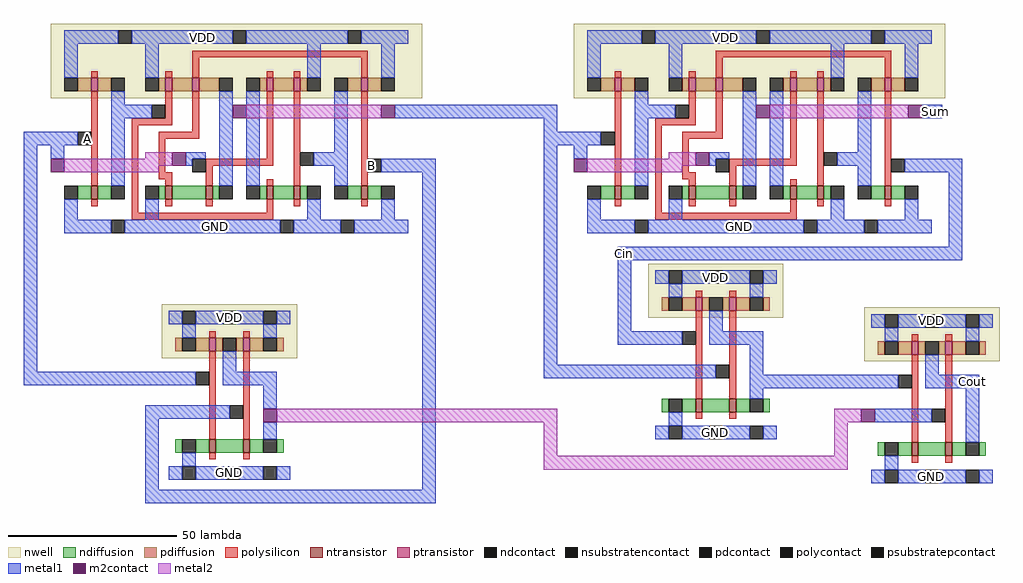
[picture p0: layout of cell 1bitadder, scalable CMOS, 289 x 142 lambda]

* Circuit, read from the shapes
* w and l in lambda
.subckt 1bitadder A B Cin Cout GND Sum VDD
M1 n1 A GND GND nfet w=4 l=2
M2 n2 B GND GND nfet w=4 l=2
M3 n3 A n2 GND nfet w=4 l=2
M4 n4 A GND GND nfet w=4 l=2
M5 n5 B n4 GND nfet w=4 l=2
M6 n6 n1 n3 GND nfet w=4 l=2
M7 GND n7 n6 GND nfet w=4 l=2
M8 GND B n7 GND nfet w=4 l=2
M9 n8 n3 GND GND nfet w=4 l=2
M10 n9 Cin GND GND nfet w=4 l=2
M11 n10 Cin GND GND nfet w=4 l=2
M12 n11 n3 n10 GND nfet w=4 l=2
M13 Sum n3 n9 GND nfet w=4 l=2
M14 n12 n8 Sum GND nfet w=4 l=2
M15 GND n13 n12 GND nfet w=4 l=2
M16 GND Cin n13 GND nfet w=4 l=2
M17 n14 n11 GND GND nfet w=4 l=2
M18 Cout n5 n14 GND nfet w=4 l=2
M19 n1 A VDD VDD pfet w=4 l=2
M20 n15 n1 VDD VDD pfet w=4 l=2
M21 n3 B n15 VDD pfet w=4 l=2
M22 n5 A VDD VDD pfet w=4 l=2
M23 VDD B n5 VDD pfet w=4 l=2
M24 n16 A n3 VDD pfet w=4 l=2
M25 VDD n7 n16 VDD pfet w=4 l=2
M26 VDD B n7 VDD pfet w=4 l=2
M27 n8 n3 VDD VDD pfet w=4 l=2
M28 n17 n8 VDD VDD pfet w=4 l=2
M29 n11 Cin VDD VDD pfet w=4 l=2
M30 Sum Cin n17 VDD pfet w=4 l=2
M31 VDD n3 n11 VDD pfet w=4 l=2
M32 n18 n3 Sum VDD pfet w=4 l=2
M33 VDD n13 n18 VDD pfet w=4 l=2
M34 VDD Cin n13 VDD pfet w=4 l=2
M35 Cout n11 VDD VDD pfet w=4 l=2
M36 VDD n5 Cout VDD pfet w=4 l=2
.ends

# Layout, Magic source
magic
tech scmos
<< nwell >>
rect -40 8 70 30
rect 115 8 225 30
rect -7 -69 33 -53
rect 137 -57 177 -41
rect 201 -70 241 -54
<< polysilicon >>
rect 2 20 54 22
rect -28 14 -26 16
rect -6 14 -4 16
rect 2 14 4 20
rect 24 14 26 16
rect 32 14 34 16
rect 52 14 54 20
rect 157 20 209 22
rect 127 14 129 16
rect 149 14 151 16
rect 157 14 159 20
rect 179 14 181 16
rect 187 14 189 16
rect 207 14 209 20
rect -28 -18 -26 10
rect -6 2 -4 10
rect -16 0 -4 2
rect -28 -24 -26 -22
rect -16 -26 -14 0
rect 2 -2 4 10
rect -8 -4 4 -2
rect -8 -14 -6 -4
rect 24 -10 26 10
rect 6 -12 26 -10
rect -8 -16 -4 -14
rect -6 -18 -4 -16
rect 6 -18 8 -12
rect 24 -18 26 -16
rect 32 -18 34 10
rect 52 -18 54 10
rect 127 -18 129 10
rect 149 2 151 10
rect 139 0 151 2
rect -6 -24 -4 -22
rect 6 -24 8 -22
rect 24 -26 26 -22
rect 32 -24 34 -22
rect 52 -24 54 -22
rect 127 -24 129 -22
rect -16 -28 26 -26
rect 139 -26 141 0
rect 157 -2 159 10
rect 147 -4 159 -2
rect 147 -14 149 -4
rect 179 -10 181 10
rect 161 -12 181 -10
rect 147 -16 151 -14
rect 149 -18 151 -16
rect 161 -18 163 -12
rect 179 -18 181 -16
rect 187 -18 189 10
rect 207 -18 209 10
rect 149 -24 151 -22
rect 161 -24 163 -22
rect 179 -26 181 -22
rect 187 -24 189 -22
rect 207 -24 209 -22
rect 139 -28 181 -26
rect 151 -51 153 -49
rect 161 -51 163 -49
rect 7 -63 9 -61
rect 17 -63 19 -61
rect 7 -93 9 -67
rect 17 -93 19 -67
rect 151 -81 153 -55
rect 161 -81 163 -55
rect 215 -64 217 -62
rect 225 -64 227 -62
rect 151 -87 153 -85
rect 161 -87 163 -85
rect 215 -94 217 -68
rect 225 -94 227 -68
rect 7 -99 9 -97
rect 17 -99 19 -97
rect 215 -100 217 -98
rect 225 -100 227 -98
<< ndiffusion >>
rect -32 -22 -28 -18
rect -26 -22 -22 -18
rect -8 -22 -6 -18
rect -4 -22 6 -18
rect 8 -22 10 -18
rect 22 -22 24 -18
rect 26 -22 32 -18
rect 34 -22 36 -18
rect 48 -22 52 -18
rect 54 -22 58 -18
rect 123 -22 127 -18
rect 129 -22 133 -18
rect 147 -22 149 -18
rect 151 -22 161 -18
rect 163 -22 165 -18
rect 177 -22 179 -18
rect 181 -22 187 -18
rect 189 -22 191 -18
rect 203 -22 207 -18
rect 209 -22 213 -18
rect 141 -85 143 -81
rect 147 -85 151 -81
rect 153 -85 161 -81
rect 163 -85 167 -81
rect 171 -85 173 -81
rect -3 -97 -1 -93
rect 3 -97 7 -93
rect 9 -97 17 -93
rect 19 -97 23 -93
rect 27 -97 29 -93
rect 205 -98 207 -94
rect 211 -98 215 -94
rect 217 -98 225 -94
rect 227 -98 231 -94
rect 235 -98 237 -94
<< pdiffusion >>
rect -32 10 -28 14
rect -26 10 -22 14
rect -8 10 -6 14
rect -4 10 2 14
rect 4 10 10 14
rect 22 10 24 14
rect 26 10 32 14
rect 34 10 36 14
rect 48 10 52 14
rect 54 10 58 14
rect 123 10 127 14
rect 129 10 133 14
rect 147 10 149 14
rect 151 10 157 14
rect 159 10 165 14
rect 177 10 179 14
rect 181 10 187 14
rect 189 10 191 14
rect 203 10 207 14
rect 209 10 213 14
rect 141 -55 143 -51
rect 147 -55 151 -51
rect 153 -55 155 -51
rect 159 -55 161 -51
rect 163 -55 167 -51
rect 171 -55 173 -51
rect -3 -67 -1 -63
rect 3 -67 7 -63
rect 9 -67 11 -63
rect 15 -67 17 -63
rect 19 -67 23 -63
rect 27 -67 29 -63
rect 205 -68 207 -64
rect 211 -68 215 -64
rect 217 -68 219 -64
rect 223 -68 225 -64
rect 227 -68 231 -64
rect 235 -68 237 -64
<< metal1 >>
rect -36 24 -20 28
rect -16 24 14 28
rect 18 24 48 28
rect 52 24 66 28
rect 119 24 135 28
rect 139 24 169 28
rect 173 24 203 28
rect 207 24 221 28
rect -36 14 -32 24
rect -12 14 -8 24
rect 36 14 40 24
rect 58 14 62 24
rect -22 6 -18 10
rect -22 2 -10 6
rect -48 -6 -32 -2
rect -48 -73 -44 -6
rect -40 -10 -36 -6
rect -22 -18 -18 2
rect 0 -10 6 -8
rect 0 -12 2 -10
rect 10 -18 14 10
rect 119 14 123 24
rect 143 14 147 24
rect 191 14 195 24
rect 213 14 217 24
rect 18 -18 22 10
rect 44 -8 48 10
rect 133 6 137 10
rect 62 2 110 6
rect 38 -12 48 -8
rect 106 -2 110 2
rect 133 2 145 6
rect 106 -6 123 -2
rect 44 -18 48 -12
rect 58 -14 74 -10
rect -36 -28 -32 -22
rect -12 -28 -8 -22
rect 36 -28 40 -22
rect 58 -28 62 -22
rect -36 -32 -22 -28
rect -18 -32 28 -28
rect 32 -32 46 -28
rect 50 -32 66 -28
rect -5 -59 -1 -55
rect 3 -59 11 -55
rect 15 -59 23 -55
rect 27 -59 31 -55
rect -1 -63 3 -59
rect 23 -63 27 -59
rect 11 -73 15 -67
rect -48 -77 3 -73
rect 11 -77 27 -73
rect -12 -87 13 -83
rect 23 -84 27 -77
rect -12 -108 -8 -87
rect 23 -93 27 -88
rect -1 -101 3 -97
rect -5 -105 -1 -101
rect 3 -105 12 -101
rect 16 -105 23 -101
rect 27 -105 31 -101
rect 70 -108 74 -14
rect 106 -71 110 -6
rect 115 -10 119 -6
rect 133 -18 137 2
rect 155 -10 161 -8
rect 155 -12 157 -10
rect 165 -18 169 10
rect 173 -18 177 10
rect 199 -8 203 10
rect 218 2 224 6
rect 193 -12 203 -8
rect 199 -18 203 -12
rect 213 -14 230 -10
rect 119 -28 123 -22
rect 143 -28 147 -22
rect 191 -28 195 -22
rect 213 -28 217 -22
rect 119 -32 133 -28
rect 137 -32 183 -28
rect 187 -32 201 -28
rect 205 -32 221 -28
rect 226 -36 230 -14
rect 128 -40 230 -36
rect 128 -61 132 -40
rect 139 -47 143 -43
rect 147 -47 155 -43
rect 159 -47 167 -43
rect 171 -47 175 -43
rect 143 -51 147 -47
rect 167 -51 171 -47
rect 155 -61 159 -55
rect 203 -60 207 -56
rect 211 -60 219 -56
rect 223 -60 231 -56
rect 235 -60 239 -56
rect 128 -65 147 -61
rect 155 -65 171 -61
rect 106 -75 157 -71
rect 167 -74 171 -65
rect 207 -64 211 -60
rect 231 -64 235 -60
rect 219 -74 223 -68
rect 167 -78 211 -74
rect 219 -78 235 -74
rect 167 -81 171 -78
rect 143 -89 147 -85
rect 204 -88 221 -84
rect 139 -93 143 -89
rect 147 -93 155 -89
rect 159 -93 167 -89
rect 171 -93 175 -89
rect 231 -94 235 -78
rect 207 -102 211 -98
rect 203 -106 207 -102
rect 211 -106 219 -102
rect 223 -106 231 -102
rect 235 -106 239 -102
rect -12 -112 74 -108
<< metal2 >>
rect 18 2 58 6
rect 173 2 214 6
rect -12 -10 -4 -8
rect -36 -12 -4 -10
rect 143 -10 151 -8
rect -36 -14 -8 -12
rect 119 -12 151 -10
rect 119 -14 147 -12
rect 27 -88 110 -84
rect 106 -98 110 -88
rect 192 -88 200 -84
rect 192 -98 196 -88
rect 106 -102 196 -98
<< ntransistor >>
rect -28 -22 -26 -18
rect -6 -22 -4 -18
rect 6 -22 8 -18
rect 24 -22 26 -18
rect 32 -22 34 -18
rect 52 -22 54 -18
rect 127 -22 129 -18
rect 149 -22 151 -18
rect 161 -22 163 -18
rect 179 -22 181 -18
rect 187 -22 189 -18
rect 207 -22 209 -18
rect 151 -85 153 -81
rect 161 -85 163 -81
rect 7 -97 9 -93
rect 17 -97 19 -93
rect 215 -98 217 -94
rect 225 -98 227 -94
<< ptransistor >>
rect -28 10 -26 14
rect -6 10 -4 14
rect 2 10 4 14
rect 24 10 26 14
rect 32 10 34 14
rect 52 10 54 14
rect 127 10 129 14
rect 149 10 151 14
rect 157 10 159 14
rect 179 10 181 14
rect 187 10 189 14
rect 207 10 209 14
rect 151 -55 153 -51
rect 161 -55 163 -51
rect 7 -67 9 -63
rect 17 -67 19 -63
rect 215 -68 217 -64
rect 225 -68 227 -64
<< polycontact >>
rect -32 -6 -28 -2
rect -10 2 -6 6
rect 2 -14 6 -10
rect 34 -12 38 -8
rect 123 -6 127 -2
rect 54 -14 58 -10
rect 145 2 149 6
rect 157 -14 161 -10
rect 189 -12 193 -8
rect 209 -14 213 -10
rect 147 -65 151 -61
rect 3 -77 7 -73
rect 13 -87 17 -83
rect 157 -75 161 -71
rect 211 -78 215 -74
rect 221 -88 225 -84
<< ndcontact >>
rect -36 -22 -32 -18
rect -22 -22 -18 -18
rect -12 -22 -8 -18
rect 10 -22 14 -18
rect 18 -22 22 -18
rect 36 -22 40 -18
rect 44 -22 48 -18
rect 58 -22 62 -18
rect 119 -22 123 -18
rect 133 -22 137 -18
rect 143 -22 147 -18
rect 165 -22 169 -18
rect 173 -22 177 -18
rect 191 -22 195 -18
rect 199 -22 203 -18
rect 213 -22 217 -18
rect 143 -85 147 -81
rect 167 -85 171 -81
rect -1 -97 3 -93
rect 23 -97 27 -93
rect 207 -98 211 -94
rect 231 -98 235 -94
<< pdcontact >>
rect -36 10 -32 14
rect -22 10 -18 14
rect -12 10 -8 14
rect 10 10 14 14
rect 18 10 22 14
rect 36 10 40 14
rect 44 10 48 14
rect 58 10 62 14
rect 119 10 123 14
rect 133 10 137 14
rect 143 10 147 14
rect 165 10 169 14
rect 173 10 177 14
rect 191 10 195 14
rect 199 10 203 14
rect 213 10 217 14
rect 143 -55 147 -51
rect 155 -55 159 -51
rect 167 -55 171 -51
rect -1 -67 3 -63
rect 11 -67 15 -63
rect 23 -67 27 -63
rect 207 -68 211 -64
rect 219 -68 223 -64
rect 231 -68 235 -64
<< m2contact >>
rect -40 -14 -36 -10
rect -4 -12 0 -8
rect 14 2 18 6
rect 58 2 62 6
rect 23 -88 27 -84
rect 115 -14 119 -10
rect 151 -12 155 -8
rect 169 2 173 6
rect 214 2 218 6
rect 200 -88 204 -84
<< psubstratepcontact >>
rect -22 -32 -18 -28
rect 28 -32 32 -28
rect 46 -32 50 -28
rect 133 -32 137 -28
rect 183 -32 187 -28
rect 201 -32 205 -28
rect 143 -93 147 -89
rect 155 -93 159 -89
rect 167 -93 171 -89
rect -1 -105 3 -101
rect 12 -105 16 -101
rect 23 -105 27 -101
rect 207 -106 211 -102
rect 219 -106 223 -102
rect 231 -106 235 -102
<< nsubstratencontact >>
rect -20 24 -16 28
rect 14 24 18 28
rect 48 24 52 28
rect 135 24 139 28
rect 169 24 173 28
rect 203 24 207 28
rect 143 -47 147 -43
rect 155 -47 159 -43
rect 167 -47 171 -43
rect -1 -59 3 -55
rect 11 -59 15 -55
rect 23 -59 27 -55
rect 207 -60 211 -56
rect 219 -60 223 -56
rect 231 -60 235 -56
<< labels >>
rlabel polycontact -30 -5 -28 -3 1 A
rlabel polycontact 54 -13 56 -11 1 B
rlabel metal1 4 25 6 27 5 VDD
rlabel metal1 8 -31 10 -29 1 GND
rlabel metal1 159 25 161 27 5 VDD
rlabel metal1 163 -31 165 -29 1 GND
rlabel nsubstratencontact 156 -46 158 -44 1 VDD
rlabel psubstratepcontact 156 -92 158 -90 1 GND
rlabel nsubstratencontact 12 -58 14 -56 1 VDD
rlabel psubstratepcontact 12 -104 14 -102 1 GND
rlabel nsubstratencontact 220 -59 222 -57 1 VDD
rlabel psubstratepcontact 220 -105 222 -103 1 GND
rlabel metal1 129 -39 131 -37 1 Cin
rlabel metal1 221 3 223 5 1 Sum
rlabel metal1 232 -77 234 -75 1 Cout
<< end >>
